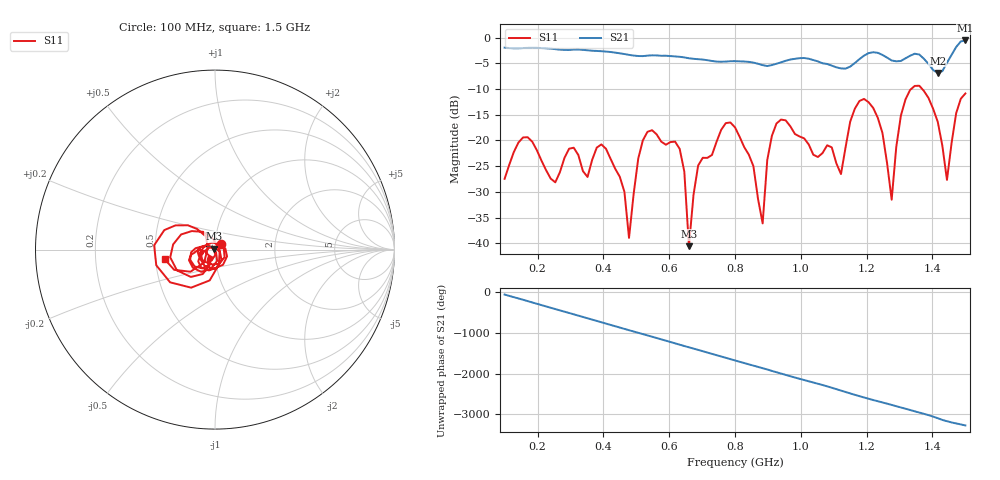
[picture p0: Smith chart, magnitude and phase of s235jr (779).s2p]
! NanoVNA-App
! Date: 2025-09-25 15:10:14
! Start: 100MHz Stop: 1,5GHz Points: 101
! S-Parameter data: F S11 S21 S12 S22
# Hz S RI R 50
!  Frequency  S11_Real  S11_Imag  S21_Real  S21_Imag  S12_Real  S12_Imag  S22_Real  S22_Imag
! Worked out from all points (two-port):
!   101 points, 100 MHz to 1.5 GHz, reference 50 ohm
!   highest |S21| = -0.56 dB at 1.5 GHz (marker M1); lowest = -6.9 dB at 1.416 GHz (marker M2)
!   |S21| within 3 dB of the highest: start of sweep to 501.9 MHz; 526.3 MHz to 596 MHz (69.67 MHz wide, 12.4 % of centre) (the widest 2 of 5)
!   lowest |S11| = -40.6 dB at 660 MHz (marker M3), VSWR 1.02, Z = 49.3 + j0.599 ohm
!   |S11| at or under -10 dB: start of sweep to 1.335 GHz; 1.369 GHz to end of sweep
!   S12 and S22 are empty: the file has one direction only
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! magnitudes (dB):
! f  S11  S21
! 100 MHz  -27.5  -2.0
! 156 MHz  -19.4  -2.0
! 338 MHz  -26.0  -2.4
! 408 MHz  -21.6  -2.7
! 478 MHz  -39.0  -3.4
! 520 MHz  -20.0  -3.6
! 576 MHz  -20.2  -3.5
! 632 MHz  -21.7  -3.7
! 660 MHz  -40.6  -4.0
! 688 MHz  -24.9  -4.2
! 800 MHz  -17.5  -4.6
! 884 MHz  -36.1  -5.4
! 926 MHz  -16.7  -5.1
! 1.038 GHz  -22.8  -4.4
! 1.122 GHz  -26.5  -6.0
! 1.192 GHz  -11.9  -3.5
! 1.248 GHz  -18.5  -3.4
! 1.276 GHz  -31.5  -4.5
! 1.332 GHz  -10.2  -3.5
! 1.416 GHz  -16.4  -6.9
! 1.444 GHz  -27.7  -4.9
! 1.5 GHz  -10.9  -0.6
